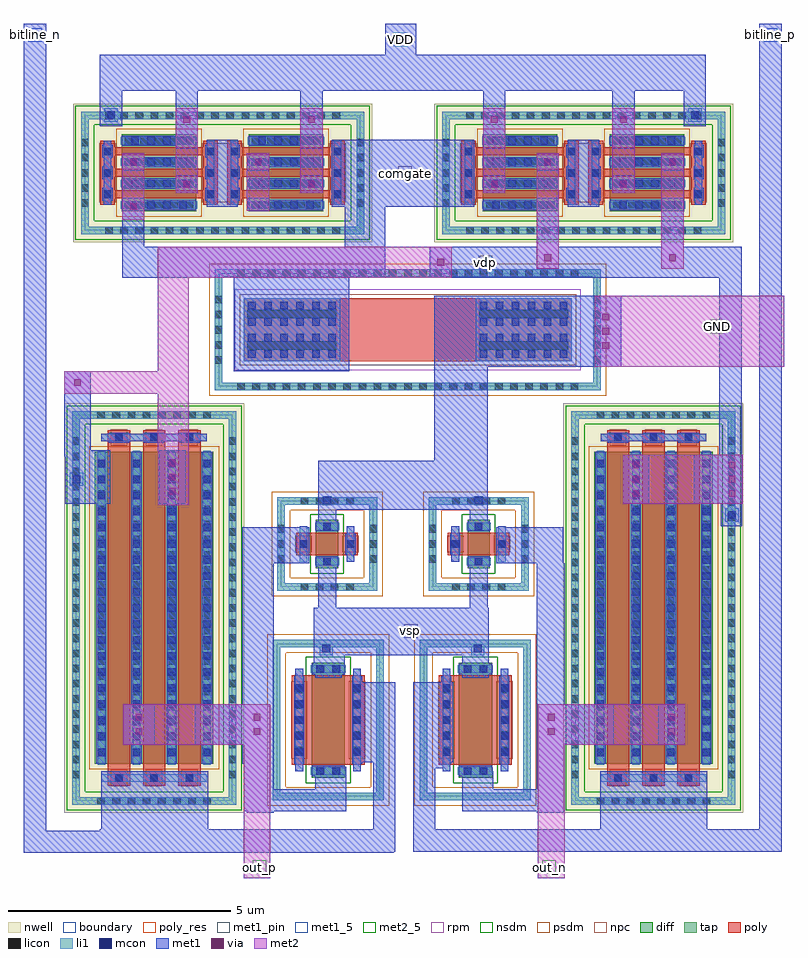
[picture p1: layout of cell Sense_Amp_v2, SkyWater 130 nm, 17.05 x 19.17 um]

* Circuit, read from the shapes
.subckt Sense_Amp_v2 BITLINE_N BITLINE_P GND OUT_N OUT_P VDD comgate vdp vsp
XM1 vsp BITLINE_N OUT_P GND sky130_fd_pr__nfet_01v8 w=0.75 l=2
XM2 GND OUT_P vsp GND sky130_fd_pr__nfet_01v8 w=0.5 l=0.5
XM3 vsp BITLINE_P OUT_N GND sky130_fd_pr__nfet_01v8 w=0.75 l=2
XM4 GND OUT_N vsp GND sky130_fd_pr__nfet_01v8 w=0.5 l=0.5
XM5 OUT_P BITLINE_N vdp vdp sky130_fd_pr__pfet_01v8 w=7 l=0.5 m=3
XM6 VDD comgate comgate VDD sky130_fd_pr__pfet_01v8 w=1.67 l=0.18 m=3
XM7 VDD comgate sky130_fd_pr__pfet_01v8_L3H7YA_3/S2_1 VDD sky130_fd_pr__pfet_01v8 w=1.67 l=0.18
XM8 sky130_fd_pr__pfet_01v8_L3H7YA_3/S1_1 comgate VDD VDD sky130_fd_pr__pfet_01v8 w=1.67 l=0.18 m=2
XM9 VDD comgate vdp VDD sky130_fd_pr__pfet_01v8 w=1.67 l=0.18 m=6
XM10 vdp BITLINE_P OUT_N vdp sky130_fd_pr__pfet_01v8 w=7 l=0.5 m=3
XR11 GND comgate GND sky130_fd_pr__res_high_po w=1.41 l=3.08
.ends

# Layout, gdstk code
from math import pi, radians
import gdstk
lib = gdstk.Library(unit=1e-6, precision=1e-09)
def R(c, l, rs):  # rectangles x0, y0, x1, y1
    for r in rs: c.add(gdstk.rectangle(r[:2], r[2:], *l))
def A(c, l, x, y, w, h, nx, ny, dx, dy):  # array of equal rectangles
    R(c, l, [(x+i*dx, y+j*dy, x+i*dx+w, y+j*dy+h) for i in range(nx) for j in range(ny)])
nwell = (64, 20)
diff = (65, 20)
tap = (65, 44)
poly_res = (66, 13)
poly = (66, 20)
licon = (66, 44)
li1 = (67, 20)
mcon = (67, 44)
met1_5 = (68, 5)
met1_pin = (68, 16)
met1 = (68, 20)
via = (68, 44)
met2_5 = (69, 5)
met2 = (69, 20)
rpm = (86, 20)
nsdm = (93, 44)
psdm = (94, 20)
npc = (95, 20)
boundary = (235, 4)

sky130_fd_pr__res_high_p = lib.new_cell('sky130_fd_pr__res_high_po_1p41_BU449T')
R(sky130_fd_pr__res_high_p, tap, [(-1.355,-4.33,1.355,-4.16), (-1.355,-4.16,-1.185,4.16), (1.185,-4.16,1.355,4.16), (-1.355,4.16,1.355,4.33)])
R(sky130_fd_pr__res_high_p, poly_res, [(-0.705,-1.6,0.705,1.6)])
R(sky130_fd_pr__res_high_p, poly, [(-0.705,-3.68,0.705,3.68)])
A(sky130_fd_pr__res_high_p, licon, -0.765, -4.33, 0.17, 0.17, 5, 2, 0.34, 8.49)
A(sky130_fd_pr__res_high_p, licon, -1.355, -3.825, 0.17, 0.17, 1, 23, 0, 0.34)
A(sky130_fd_pr__res_high_p, licon, 1.185, -3.825, 0.17, 0.17, 1, 23, 0, 0.34)
R(sky130_fd_pr__res_high_p, licon, [(-0.45,-3.6,-0.26,-1.6), (0.26,-3.6,0.45,-1.6), (-0.45,1.6,-0.26,3.6), (0.26,1.6,0.45,3.6)])
R(sky130_fd_pr__res_high_p, li1, [(-1.355,-4.33,1.355,-4.16), (-1.355,-4.16,-1.185,4.16), (1.185,-4.16,1.355,4.16), (-0.705,-3.68,0.705,-1.52), (-0.705,1.52,0.705,3.68), (-1.355,4.16,1.355,4.33)])
A(sky130_fd_pr__res_high_p, mcon, -0.625, -3.585, 0.17, 0.17, 4, 6, 0.36, 0.36)
A(sky130_fd_pr__res_high_p, mcon, -0.625, 1.61, 0.17, 0.17, 4, 6, 0.36, 0.36)
R(sky130_fd_pr__res_high_p, met1, [(-0.655,-3.65,0.655,-1.545), (-0.655,1.545,0.655,3.65)])
R(sky130_fd_pr__res_high_p, rpm, [(-0.905,-3.88,0.905,3.88)])
R(sky130_fd_pr__res_high_p, psdm, [(-1.48,-4.455,1.48,4.455)])
R(sky130_fd_pr__res_high_p, npc, [(-0.8,-3.775,0.8,3.775)])
R(sky130_fd_pr__res_high_p, boundary, [(-1.27,-4.245,1.27,4.245)])
sky130_fd_pr__res_high_p.add(gdstk.Label('B', (0,-4.245), layer=67, texttype=5))
sky130_fd_pr__res_high_p.add(gdstk.Label('R1', (0,3.505), layer=67, texttype=5))
sky130_fd_pr__res_high_p.add(gdstk.Label('R2', (0,-3.505), layer=67, texttype=5))

sky130_fd_pr__pfet_01v8_ = lib.new_cell('sky130_fd_pr__pfet_01v8_TGVDXL')
R(sky130_fd_pr__pfet_01v8_, nwell, [(-2.02,-4.595,2.02,4.595)])
R(sky130_fd_pr__pfet_01v8_, diff, [(-1.33,-3.5,1.33,3.5)])
R(sky130_fd_pr__pfet_01v8_, tap, [(-1.84,-4.415,1.84,-4.245), (-1.84,-4.245,-1.67,4.245), (1.67,-4.245,1.84,4.245), (-1.84,4.245,1.84,4.415)])
A(sky130_fd_pr__pfet_01v8_, poly, -1.04, -3.985, 0.5, 7.97, 3, 1, 0.79, 0)
A(sky130_fd_pr__pfet_01v8_, licon, -1.275, -4.415, 0.17, 0.17, 8, 2, 0.34, 8.66)
A(sky130_fd_pr__pfet_01v8_, licon, -0.875, -3.905, 0.17, 0.17, 3, 2, 0.79, 7.64)
A(sky130_fd_pr__pfet_01v8_, licon, -1.84, -3.825, 0.17, 0.17, 1, 23, 0, 0.34)
A(sky130_fd_pr__pfet_01v8_, licon, 1.67, -3.825, 0.17, 0.17, 1, 23, 0, 0.34)
A(sky130_fd_pr__pfet_01v8_, licon, -1.27, -3.315, 0.17, 0.17, 4, 20, 0.79, 0.34)
A(sky130_fd_pr__pfet_01v8_, li1, -1.27, -3.52, 0.17, 7.04, 4, 1, 0.79, 0)
R(sky130_fd_pr__pfet_01v8_, li1, [(-1.84,-4.415,1.84,-4.245), (-1.84,-4.245,-1.67,4.245), (1.67,-4.245,1.84,4.245), (-1.185,-3.905,1.185,-3.735), (-1.185,3.735,1.185,3.905), (-1.84,4.245,1.84,4.415)])
A(sky130_fd_pr__pfet_01v8_, mcon, -0.875, -3.905, 0.17, 0.17, 3, 2, 0.79, 7.64)
A(sky130_fd_pr__pfet_01v8_, mcon, -1.27, -3.325, 0.17, 0.17, 4, 19, 0.79, 0.36)
A(sky130_fd_pr__pfet_01v8_, met1, -1.02, -3.935, 0.46, 0.03, 3, 2, 0.79, 0.2)
A(sky130_fd_pr__pfet_01v8_, met1, -1.3, -3.5, 0.23, 7, 4, 1, 0.79, 0)
A(sky130_fd_pr__pfet_01v8_, met1, -1.02, 3.705, 0.46, 0.03, 3, 2, 0.79, 0.2)
R(sky130_fd_pr__pfet_01v8_, met1, [(-1.185,-3.905,1.185,-3.735), (-1.185,3.735,1.185,3.905)])
R(sky130_fd_pr__pfet_01v8_, nsdm, [(-1.965,-4.54,1.965,-4.12), (-1.965,-4.12,-1.545,4.12), (1.545,-4.12,1.965,4.12), (-1.965,4.12,1.965,4.54)])
R(sky130_fd_pr__pfet_01v8_, psdm, [(-1.455,-3.625,1.455,3.625)])
A(sky130_fd_pr__pfet_01v8_, npc, -0.975, -4.005, 0.37, 0.37, 3, 2, 0.79, 7.64)
R(sky130_fd_pr__pfet_01v8_, boundary, [(-1.755,-4.33,1.755,4.33)])
sky130_fd_pr__pfet_01v8_.add(gdstk.Label('B', (0,-4.33), layer=67, texttype=5))
sky130_fd_pr__pfet_01v8_.add(gdstk.Label('D0', (-1.185,0), layer=67, texttype=5))
sky130_fd_pr__pfet_01v8_.add(gdstk.Label('G', (0.79,3.82), layer=67, texttype=5))
sky130_fd_pr__pfet_01v8_.add(gdstk.Label('G', (0,3.82), layer=67, texttype=5))
sky130_fd_pr__pfet_01v8_.add(gdstk.Label('G', (-0.79,3.82), layer=67, texttype=5))
sky130_fd_pr__pfet_01v8_.add(gdstk.Label('S1', (-0.395,0), layer=67, texttype=5))
sky130_fd_pr__pfet_01v8_.add(gdstk.Label('D2', (0.395,0), layer=67, texttype=5))
sky130_fd_pr__pfet_01v8_.add(gdstk.Label('S2', (1.185,0), layer=67, texttype=5))

c_sky130_fd_pr__pfet_01v8_ = lib.new_cell('sky130_fd_pr__pfet_01v8_L3H7YA')
R(c_sky130_fd_pr__pfet_01v8_, nwell, [(-1.555,-3.355,1.555,3.355)])
R(c_sky130_fd_pr__pfet_01v8_, diff, [(-0.865,-2.26,0.865,-0.59), (-0.865,0.59,0.865,2.26)])
R(c_sky130_fd_pr__pfet_01v8_, tap, [(-1.375,-3.175,1.375,-3.005), (-1.375,-3.005,-1.205,3.005), (1.205,-3.005,1.375,3.005), (-1.375,3.005,1.375,3.175)])
A(c_sky130_fd_pr__pfet_01v8_, poly, -0.57, -2.415, 0.18, 1.98, 3, 2, 0.48, 2.85)
R(c_sky130_fd_pr__pfet_01v8_, poly, [(-0.72,-2.745,0.72,-2.415), (-0.72,-0.435,0.72,-0.105), (-0.72,0.105,0.72,0.435), (-0.72,2.415,0.72,2.745)])
A(c_sky130_fd_pr__pfet_01v8_, licon, -0.765, -3.175, 0.17, 0.17, 5, 2, 0.34, 6.18)
A(c_sky130_fd_pr__pfet_01v8_, licon, -0.565, -2.665, 0.17, 0.17, 3, 2, 0.48, 2.31)
A(c_sky130_fd_pr__pfet_01v8_, licon, -1.375, -2.635, 0.17, 0.17, 1, 16, 0, 0.34)
A(c_sky130_fd_pr__pfet_01v8_, licon, 1.205, -2.635, 0.17, 0.17, 1, 16, 0, 0.34)
A(c_sky130_fd_pr__pfet_01v8_, licon, -0.805, -2.19, 0.17, 0.17, 4, 5, 0.48, 0.34)
A(c_sky130_fd_pr__pfet_01v8_, licon, -0.565, 0.185, 0.17, 0.17, 3, 2, 0.48, 2.31)
A(c_sky130_fd_pr__pfet_01v8_, licon, -0.805, 0.66, 0.17, 0.17, 4, 5, 0.48, 0.34)
A(c_sky130_fd_pr__pfet_01v8_, li1, -0.805, -2.28, 0.17, 1.71, 4, 2, 0.48, 2.85)
R(c_sky130_fd_pr__pfet_01v8_, li1, [(-1.375,-3.175,1.375,-3.005), (-1.375,-3.005,-1.205,3.005), (1.205,-3.005,1.375,3.005), (-0.72,-2.665,0.72,-2.495), (-0.72,-0.355,0.72,-0.185), (-0.72,0.185,0.72,0.355), (-0.72,2.495,0.72,2.665), (-1.375,3.005,1.375,3.175)])
A(c_sky130_fd_pr__pfet_01v8_, mcon, -0.565, -2.665, 0.17, 0.17, 3, 2, 0.48, 2.31)
A(c_sky130_fd_pr__pfet_01v8_, mcon, -0.805, -2.05, 0.17, 0.17, 4, 4, 0.48, 0.36)
A(c_sky130_fd_pr__pfet_01v8_, mcon, -0.565, 0.185, 0.17, 0.17, 3, 2, 0.48, 2.31)
A(c_sky130_fd_pr__pfet_01v8_, mcon, -0.805, 0.8, 0.17, 0.17, 4, 4, 0.48, 0.36)
A(c_sky130_fd_pr__pfet_01v8_, met1, -0.625, -2.695, 0.29, 0.03, 3, 2, 0.48, 0.2)
A(c_sky130_fd_pr__pfet_01v8_, met1, -0.835, -2.26, 0.23, 1.67, 4, 2, 0.48, 2.85)
A(c_sky130_fd_pr__pfet_01v8_, met1, -0.625, -0.385, 0.29, 0.03, 3, 2, 0.48, 0.2)
A(c_sky130_fd_pr__pfet_01v8_, met1, -0.625, 0.155, 0.29, 0.03, 3, 2, 0.48, 0.2)
A(c_sky130_fd_pr__pfet_01v8_, met1, -0.625, 2.465, 0.29, 0.03, 3, 2, 0.48, 0.2)
R(c_sky130_fd_pr__pfet_01v8_, met1, [(-0.72,-2.665,0.72,-2.495), (-0.72,-0.355,0.72,-0.185), (-0.72,0.185,0.72,0.355), (-0.72,2.495,0.72,2.665)])
R(c_sky130_fd_pr__pfet_01v8_, nsdm, [(-1.5,-3.3,1.5,-2.88), (-1.5,-2.88,-1.08,2.88), (1.08,-2.88,1.5,2.88), (-1.5,2.88,1.5,3.3)])
R(c_sky130_fd_pr__pfet_01v8_, psdm, [(-0.99,-2.385,0.99,-0.465), (-0.99,0.465,0.99,2.385)])
R(c_sky130_fd_pr__pfet_01v8_, npc, [(-0.665,-2.765,0.665,-2.395), (-0.665,-0.455,0.665,0.455), (-0.665,2.395,0.665,2.765)])
R(c_sky130_fd_pr__pfet_01v8_, boundary, [(-1.29,-3.09,1.29,3.09)])
c_sky130_fd_pr__pfet_01v8_.add(gdstk.Label('B', (0,-3.09), layer=67, texttype=5))
c_sky130_fd_pr__pfet_01v8_.add(gdstk.Label('D0_0', (-0.72,-1.425), layer=67, texttype=5))
c_sky130_fd_pr__pfet_01v8_.add(gdstk.Label('G0', (0.48,-0.27), layer=67, texttype=5))
c_sky130_fd_pr__pfet_01v8_.add(gdstk.Label('G0', (0,-0.27), layer=67, texttype=5))
c_sky130_fd_pr__pfet_01v8_.add(gdstk.Label('G0', (-0.48,-0.27), layer=67, texttype=5))
c_sky130_fd_pr__pfet_01v8_.add(gdstk.Label('D0_1', (-0.72,1.425), layer=67, texttype=5))
c_sky130_fd_pr__pfet_01v8_.add(gdstk.Label('G1', (0.48,2.58), layer=67, texttype=5))
c_sky130_fd_pr__pfet_01v8_.add(gdstk.Label('G1', (0,2.58), layer=67, texttype=5))
c_sky130_fd_pr__pfet_01v8_.add(gdstk.Label('G1', (-0.48,2.58), layer=67, texttype=5))
c_sky130_fd_pr__pfet_01v8_.add(gdstk.Label('S1_0', (-0.24,-1.425), layer=67, texttype=5))
c_sky130_fd_pr__pfet_01v8_.add(gdstk.Label('S1_1', (-0.24,1.425), layer=67, texttype=5))
c_sky130_fd_pr__pfet_01v8_.add(gdstk.Label('D2_0', (0.24,-1.425), layer=67, texttype=5))
c_sky130_fd_pr__pfet_01v8_.add(gdstk.Label('S2_0', (0.72,-1.425), layer=67, texttype=5))
c_sky130_fd_pr__pfet_01v8_.add(gdstk.Label('D2_1', (0.24,1.425), layer=67, texttype=5))
c_sky130_fd_pr__pfet_01v8_.add(gdstk.Label('S2_1', (0.72,1.425), layer=67, texttype=5))

sky130_fd_pr__nfet_01v8_ = lib.new_cell('sky130_fd_pr__nfet_01v8_X3NVM9')
R(sky130_fd_pr__nfet_01v8_, diff, [(-0.54,-0.25,0.54,0.25)])
R(sky130_fd_pr__nfet_01v8_, tap, [(-1.05,-1.12,1.05,-0.95), (-1.05,-0.95,-0.88,0.95), (0.88,-0.95,1.05,0.95), (-1.05,0.95,1.05,1.12)])
R(sky130_fd_pr__nfet_01v8_, poly, [(-0.25,-0.69,0.25,0.69)])
A(sky130_fd_pr__nfet_01v8_, licon, -0.425, -1.12, 0.17, 0.17, 3, 2, 0.34, 2.07)
A(sky130_fd_pr__nfet_01v8_, licon, -1.05, -0.595, 0.17, 0.17, 1, 4, 0, 0.34)
A(sky130_fd_pr__nfet_01v8_, licon, 0.88, -0.595, 0.17, 0.17, 1, 4, 0, 0.34)
R(sky130_fd_pr__nfet_01v8_, licon, [(-0.085,-0.61,0.085,-0.44), (-0.48,-0.085,-0.31,0.085), (0.31,-0.085,0.48,0.085), (-0.085,0.44,0.085,0.61)])
R(sky130_fd_pr__nfet_01v8_, li1, [(-1.05,-1.12,1.05,-0.95), (-1.05,-0.95,-0.88,0.95), (0.88,-0.95,1.05,0.95), (-0.395,-0.61,0.395,-0.44), (-0.48,-0.27,-0.31,0.27), (0.31,-0.27,0.48,0.27), (-0.395,0.44,0.395,0.61), (-1.05,0.95,1.05,1.12)])
R(sky130_fd_pr__nfet_01v8_, mcon, [(-0.085,-0.61,0.085,-0.44), (-0.48,-0.085,-0.31,0.085), (0.31,-0.085,0.48,0.085), (-0.085,0.44,0.085,0.61)])
R(sky130_fd_pr__nfet_01v8_, met1, [(-0.23,-0.64,0.23,-0.61), (-0.395,-0.61,0.395,-0.44), (-0.23,-0.44,0.23,-0.41), (-0.51,-0.25,-0.28,0.25), (0.28,-0.25,0.51,0.25), (-0.23,0.41,0.23,0.44), (-0.395,0.44,0.395,0.61), (-0.23,0.61,0.23,0.64)])
R(sky130_fd_pr__nfet_01v8_, nsdm, [(-0.665,-0.375,0.665,0.375)])
R(sky130_fd_pr__nfet_01v8_, psdm, [(-1.175,-1.245,1.175,-0.825), (-1.175,-0.825,-0.755,0.825), (0.755,-0.825,1.175,0.825), (-1.175,0.825,1.175,1.245)])
R(sky130_fd_pr__nfet_01v8_, npc, [(-0.185,-0.71,0.185,-0.34), (-0.185,0.34,0.185,0.71)])
R(sky130_fd_pr__nfet_01v8_, boundary, [(-0.965,-1.035,0.965,1.035)])
sky130_fd_pr__nfet_01v8_.add(gdstk.Label('B', (0,-1.035), layer=67, texttype=5))
sky130_fd_pr__nfet_01v8_.add(gdstk.Label('D', (-0.395,0), layer=67, texttype=5))
sky130_fd_pr__nfet_01v8_.add(gdstk.Label('S', (0.395,0), layer=67, texttype=5))
sky130_fd_pr__nfet_01v8_.add(gdstk.Label('G', (0,0.525), layer=67, texttype=5))

c_sky130_fd_pr__nfet_01v8_ = lib.new_cell('sky130_fd_pr__nfet_01v8_WKGXRG')
R(c_sky130_fd_pr__nfet_01v8_, diff, [(-0.54,-0.25,0.54,0.25)])
R(c_sky130_fd_pr__nfet_01v8_, tap, [(-1.05,-1.12,1.05,-0.95), (-1.05,-0.95,-0.88,0.95), (0.88,-0.95,1.05,0.95), (-1.05,0.95,1.05,1.12)])
R(c_sky130_fd_pr__nfet_01v8_, poly, [(-0.25,-0.69,0.25,0.69)])
A(c_sky130_fd_pr__nfet_01v8_, licon, -0.425, -1.12, 0.17, 0.17, 3, 2, 0.34, 2.07)
A(c_sky130_fd_pr__nfet_01v8_, licon, -1.05, -0.595, 0.17, 0.17, 1, 4, 0, 0.34)
A(c_sky130_fd_pr__nfet_01v8_, licon, 0.88, -0.595, 0.17, 0.17, 1, 4, 0, 0.34)
R(c_sky130_fd_pr__nfet_01v8_, licon, [(-0.085,-0.61,0.085,-0.44), (-0.48,-0.085,-0.31,0.085), (0.31,-0.085,0.48,0.085), (-0.085,0.44,0.085,0.61)])
R(c_sky130_fd_pr__nfet_01v8_, li1, [(-1.05,-1.12,1.05,-0.95), (-1.05,-0.95,-0.88,0.95), (0.88,-0.95,1.05,0.95), (-0.395,-0.61,0.395,-0.44), (-0.48,-0.27,-0.31,0.27), (0.31,-0.27,0.48,0.27), (-0.395,0.44,0.395,0.61), (-1.05,0.95,1.05,1.12)])
R(c_sky130_fd_pr__nfet_01v8_, mcon, [(-0.085,-0.61,0.085,-0.44), (-0.48,-0.085,-0.31,0.085), (0.31,-0.085,0.48,0.085), (-0.085,0.44,0.085,0.61)])
R(c_sky130_fd_pr__nfet_01v8_, met1, [(-0.23,-0.64,0.23,-0.61), (-0.395,-0.61,0.395,-0.44), (-0.23,-0.44,0.23,-0.41), (-0.51,-0.25,-0.28,0.25), (0.28,-0.25,0.51,0.25), (-0.23,0.41,0.23,0.44), (-0.395,0.44,0.395,0.61), (-0.23,0.61,0.23,0.64)])
R(c_sky130_fd_pr__nfet_01v8_, nsdm, [(-0.665,-0.375,0.665,0.375)])
R(c_sky130_fd_pr__nfet_01v8_, psdm, [(-1.175,-1.245,1.175,-0.825), (-1.175,-0.825,-0.755,0.825), (0.755,-0.825,1.175,0.825), (-1.175,0.825,1.175,1.245)])
R(c_sky130_fd_pr__nfet_01v8_, npc, [(-0.185,-0.71,0.185,-0.34), (-0.185,0.34,0.185,0.71)])
R(c_sky130_fd_pr__nfet_01v8_, boundary, [(-0.965,-1.035,0.965,1.035)])
c_sky130_fd_pr__nfet_01v8_.add(gdstk.Label('B', (0,-1.035), layer=67, texttype=5))
c_sky130_fd_pr__nfet_01v8_.add(gdstk.Label('D', (-0.395,0), layer=67, texttype=5))
c_sky130_fd_pr__nfet_01v8_.add(gdstk.Label('S', (0.395,0), layer=67, texttype=5))
c_sky130_fd_pr__nfet_01v8_.add(gdstk.Label('G', (0,0.525), layer=67, texttype=5))

c_sky130_fd_pr__nfet_01v8__ = lib.new_cell('sky130_fd_pr__nfet_01v8_BDYFCZ')
R(c_sky130_fd_pr__nfet_01v8__, diff, [(-1.29,-0.375,1.29,0.375)])
R(c_sky130_fd_pr__nfet_01v8__, tap, [(-1.8,-1.245,1.8,-1.075), (-1.8,-1.075,-1.63,1.075), (1.63,-1.075,1.8,1.075), (-1.8,1.075,1.8,1.245)])
R(c_sky130_fd_pr__nfet_01v8__, poly, [(-1,-0.815,1,0.815)])
A(c_sky130_fd_pr__nfet_01v8__, licon, -0.765, -0.735, 0.17, 0.17, 5, 2, 0.34, 1.3)
R(c_sky130_fd_pr__nfet_01v8__, licon, [(-1.23,-0.255,-1.06,-0.085), (1.06,-0.255,1.23,-0.085), (-1.23,0.085,-1.06,0.255), (1.06,0.085,1.23,0.255)])
R(c_sky130_fd_pr__nfet_01v8__, li1, [(-1.8,-1.245,1.8,-1.075), (-1.8,-1.075,-1.63,1.075), (1.63,-1.075,1.8,1.075), (-1.145,-0.735,1.145,-0.565), (-1.23,-0.395,-1.06,0.395), (1.06,-0.395,1.23,0.395), (-1.145,0.565,1.145,0.735), (-1.8,1.075,1.8,1.245)])
A(c_sky130_fd_pr__nfet_01v8__, mcon, -0.805, -0.735, 0.17, 0.17, 5, 2, 0.36, 1.3)
R(c_sky130_fd_pr__nfet_01v8__, mcon, [(-1.23,-0.265,-1.06,-0.095), (1.06,-0.265,1.23,-0.095), (-1.23,0.095,-1.06,0.265), (1.06,0.095,1.23,0.265)])
R(c_sky130_fd_pr__nfet_01v8__, met1, [(-0.98,-0.765,0.98,-0.735), (-1.145,-0.735,1.145,-0.565), (-0.98,-0.565,0.98,-0.535), (-1.26,-0.375,-1.03,0.375), (1.03,-0.375,1.26,0.375), (-0.98,0.535,0.98,0.565), (-1.145,0.565,1.145,0.735), (-0.98,0.735,0.98,0.765)])
R(c_sky130_fd_pr__nfet_01v8__, nsdm, [(-1.415,-0.5,1.415,0.5)])
R(c_sky130_fd_pr__nfet_01v8__, psdm, [(-1.925,-1.37,1.925,-0.95), (-1.925,-0.95,-1.505,0.95), (1.505,-0.95,1.925,0.95), (-1.925,0.95,1.925,1.37)])
R(c_sky130_fd_pr__nfet_01v8__, npc, [(-0.865,-0.835,0.865,-0.465), (-0.865,0.465,0.865,0.835)])
R(c_sky130_fd_pr__nfet_01v8__, boundary, [(-1.715,-1.16,1.715,1.16)])
c_sky130_fd_pr__nfet_01v8__.add(gdstk.Label('B', (0,-1.16), layer=65, texttype=5))
c_sky130_fd_pr__nfet_01v8__.add(gdstk.Label('D', (-1.145,0), layer=67, texttype=5))
c_sky130_fd_pr__nfet_01v8__.add(gdstk.Label('S', (1.145,0), layer=67, texttype=5))
c_sky130_fd_pr__nfet_01v8__.add(gdstk.Label('G', (0,0.65), layer=67, texttype=5))

sense_amp_v2 = lib.new_cell('Sense_Amp_v2')
R(sense_amp_v2, li1, [(13.23,16.23,13.53,16.53), (16.63,16.23,16.93,16.53), (22.33,19.23,22.63,19.53), (13.3,19.6,13.5,19.8), (16.7,19.6,16.9,19.8), (7.63,20.03,7.93,20.33), (8.4,28.2,8.7,28.5), (21.5,28.2,21.8,28.5)])
R(sense_amp_v2, mcon, [(13.295,16.295,13.465,16.465), (16.695,16.295,16.865,16.465), (22.395,19.295,22.565,19.465), (13.315,19.615,13.485,19.785), (16.715,19.615,16.885,19.785), (7.695,20.095,7.865,20.265), (8.465,28.265,8.635,28.435), (21.565,28.265,21.735,28.435)])
R(sense_amp_v2, met1_5, [(14.9,29.9,15.2,30.2), (6.7,30,7,30.3), (6.7,30,7,30.3), (23.2,30,23.5,30.3), (23.2,30,23.5,30.3)])
R(sense_amp_v2, met1_pin, [(15.13,16.63,15.43,16.93), (16.8,24.9,17.1,25.2), (15,26.9,15.3,27.2)])
R(sense_amp_v2, met1, [(6.6,11.8,14.9,11.83), (6.6,11.83,14.93,12.3), (15.33,11.83,23.6,12.33), (6.6,12.3,7.1,30.4), (8.3,12.3,14.93,12.33), (8.33,12.33,10.73,13.63), (14.43,12.33,14.93,13.83), (15.33,12.33,15.83,13.7), (19.53,12.33,21.93,13.63), (23.1,12.33,23.6,30.4), (11.6,12.7,12.2,12.73), (18.1,12.7,18.7,12.73), (11.53,12.73,13.83,13.23), (16.43,12.73,18.73,13.23), (11.53,13.23,12.2,13.8), (13.13,13.23,13.83,13.73), (16.43,13.23,17.13,13.63), (18.1,13.23,18.73,14.23), (15.33,13.7,16.1,13.83), (11.5,13.8,12.2,14.23), (14.03,13.83,14.93,15.63), (15.33,13.83,16.23,15.63), (8.83,14.23,9.53,15.13), (10.43,14.23,12.2,15.13), (18.1,14.23,19.83,15.13), (20.83,14.23,21.43,15.13), (11.5,15.13,12.2,18.3), (18.1,15.13,18.73,18.3), (13.13,15.73,13.73,15.8), (16.43,15.73,17.03,16.23), (13.1,15.8,13.8,16.23), (13.1,16.23,17.03,17.3), (13.2,17.3,13.6,18.4), (16.6,17.3,17,18.4), (11.5,18.3,13,19.1), (17.2,18.3,18.7,19.1), (13.2,19.1,13.6,19.5), (16.6,19.1,17,19.5), (22.23,19.13,22.7,19.63), (13.2,19.5,17,20.6), (7.53,19.63,8.53,20.7), (9.63,19.63,10.23,20.83), (20.03,19.63,20.63,20.73), (21.63,19.63,22.7,20.73), (15.8,20.6,17,22.7), (7.5,20.7,8.53,20.83), (22.2,20.73,22.7,24.7), (7.5,20.83,8.1,22.6), (11.3,22.6,13.9,24.7), (15.8,22.7,20,24.3), (8.8,24.7,14.7,25.4), (15.7,24.7,22.7,25.4), (8.8,25.4,9.3,26.5), (13.8,25.4,14.7,26.3), (18.1,25.4,18.6,26.5), (20.9,25.4,21.4,26.5), (11.6,26.2,12.1,26.5), (10.7,26.3,11.4,27.8), (13.5,26.3,16.7,27.8), (18.8,26.3,19.5,27.8), (10,26.6,10.5,27), (12.8,26.6,13.3,27), (16.9,26.6,17.4,27), (19.8,26.6,20.3,27), (8.8,27.1,9.3,27.5), (11.6,27.1,12.1,27.5), (18.1,27.1,18.6,27.5), (20.9,27.1,21.4,27.5), (10,27.6,10.5,28.9), (12.8,27.6,13.3,28.9), (16.9,27.6,17.4,28.9), (19.8,27.6,20.3,28.9), (8.3,28.1,8.8,28.9), (21.4,28.1,21.9,28.9), (8.3,28.9,21.9,29.7), (14.7,29.7,15.4,30.4)])
A(sense_amp_v2, via, 20.255, 19.785, 0.15, 0.15, 1, 3, 0, 0.32)
A(sense_amp_v2, via, 22.405, 19.785, 0.15, 0.15, 1, 3, 0, 0.32)
A(sense_amp_v2, via, 9.855, 19.835, 0.15, 0.15, 1, 3, 0, 0.32)
A(sense_amp_v2, via, 19.575, 23.105, 0.15, 0.15, 1, 3, 0, 0.32)
R(sense_amp_v2, via, [(9.105,14.445,9.255,14.595), (11.755,14.445,11.905,14.595), (18.355,14.445,18.505,14.595), (21.055,14.445,21.205,14.595), (9.105,14.765,9.255,14.915), (11.755,14.765,11.905,14.915), (18.355,14.765,18.505,14.915), (21.055,14.765,21.205,14.915), (7.725,22.275,7.875,22.425), (15.875,24.975,16.025,25.125), (18.275,25.075,18.425,25.225), (21.075,25.075,21.225,25.225), (8.975,26.225,9.125,26.375), (10.175,26.725,10.325,26.875), (12.975,26.725,13.125,26.875), (17.075,26.725,17.225,26.875), (19.975,26.725,20.125,26.875), (8.975,27.225,9.125,27.375), (11.775,27.225,11.925,27.375), (18.275,27.225,18.425,27.375), (21.075,27.225,21.225,27.375), (10.175,28.175,10.325,28.325), (12.975,28.175,13.125,28.325), (17.075,28.175,17.225,28.325), (19.975,28.175,20.125,28.325)])
R(sense_amp_v2, met2_5, [(11.73,11.33,12.03,11.63), (11.73,11.33,12.03,11.63), (18.23,11.33,18.53,11.63), (18.23,11.33,18.53,11.63), (22,23.46,22.3,23.76)])
R(sense_amp_v2, met2, [(11.53,11.23,12.13,14.23), (18.13,11.23,18.73,14.23), (8.83,14.23,12.13,15.13), (18.13,14.23,21.43,15.13), (9.6,19.6,10.3,22.1), (20.03,19.63,22.73,20.73), (7.5,22.1,10.3,22.6), (9.6,22.6,10.3,24.7), (19.4,22.7,23.65,24.3), (9.6,24.7,16.2,25.4), (18.1,24.9,18.6,27.5), (20.9,24.9,21.4,27.5), (8.8,26,9.3,27.5), (11.6,26.2,12.1,27.5), (10,26.6,10.5,28.5), (12.8,26.6,13.3,28.5), (16.9,26.6,17.4,28.5), (19.8,26.6,20.3,28.5)])
sense_amp_v2.add(gdstk.Reference(sky130_fd_pr__res_high_p, (15.21,23.535), rotation=3*pi/2))
sense_amp_v2.add(gdstk.Reference(sky130_fd_pr__pfet_01v8_, (20.72,17.295)))
sense_amp_v2.add(gdstk.Reference(sky130_fd_pr__pfet_01v8_, (9.52,17.295)))
sense_amp_v2.add(gdstk.Reference(c_sky130_fd_pr__pfet_01v8_, (11.055,27.055), rotation=3*pi/2))
sense_amp_v2.add(gdstk.Reference(c_sky130_fd_pr__pfet_01v8_, (19.155,27.055), rotation=3*pi/2))
sense_amp_v2.add(gdstk.Reference(sky130_fd_pr__nfet_01v8_, (16.8,18.73), rotation=3*pi/2))
sense_amp_v2.add(gdstk.Reference(c_sky130_fd_pr__nfet_01v8_, (13.4,18.73), rotation=3*pi/2))
sense_amp_v2.add(gdstk.Reference(c_sky130_fd_pr__nfet_01v8__, (16.725,14.78), rotation=3*pi/2))
sense_amp_v2.add(gdstk.Reference(c_sky130_fd_pr__nfet_01v8__, (13.425,14.78), rotation=3*pi/2))
sense_amp_v2.add(gdstk.Label('bitline_n', (6.85,30.15), layer=68, texttype=5))
sense_amp_v2.add(gdstk.Label('bitline_p', (23.35,30.15), layer=68, texttype=5))
sense_amp_v2.add(gdstk.Label('VDD', (15.05,30.05), layer=68, texttype=5))
sense_amp_v2.add(gdstk.Label('BITLINE_P', (23.35,30.15), layer=68, texttype=5))
sense_amp_v2.add(gdstk.Label('BITLINE_N', (6.85,30.15), layer=68, texttype=5))
sense_amp_v2.add(gdstk.Label('out_p', (11.88,11.48), layer=69, texttype=5))
sense_amp_v2.add(gdstk.Label('out_n', (18.38,11.48), layer=69, texttype=5))
sense_amp_v2.add(gdstk.Label('OUT_P', (11.88,11.48), layer=69, texttype=5))
sense_amp_v2.add(gdstk.Label('OUT_N', (18.38,11.48), layer=69, texttype=5))
sense_amp_v2.add(gdstk.Label('GND', (22.15,23.61), layer=69, texttype=5))
sense_amp_v2.add(gdstk.Label('comgate', (15.15,27.05), layer=68, texttype=5))
sense_amp_v2.add(gdstk.Label('vsp', (15.28,16.78), layer=68, texttype=5))
sense_amp_v2.add(gdstk.Label('vdp', (16.95,25.05), layer=68, texttype=5))

lib.write_gds('Sense_Amp_v2.gds')
